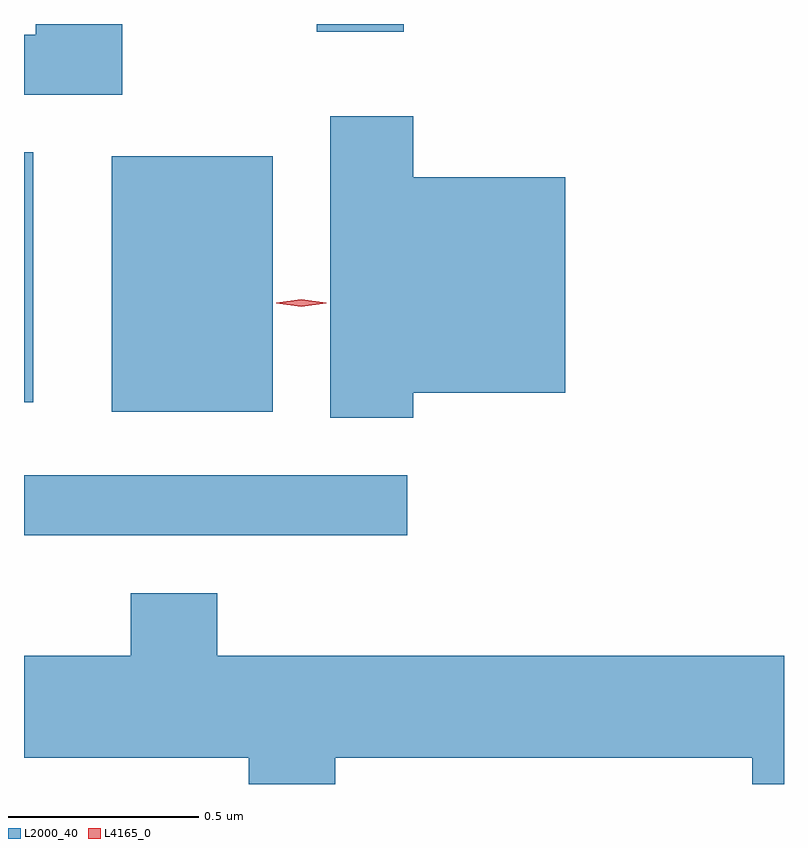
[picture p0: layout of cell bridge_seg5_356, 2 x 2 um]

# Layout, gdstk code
import gdstk
lib = gdstk.Library(unit=1e-6, precision=1e-09)
def R(c, l, rs):  # rectangles x0, y0, x1, y1
    for r in rs: c.add(gdstk.rectangle(r[:2], r[2:], *l))
def P(c, l, *ps):  # polygons
    for p in ps: c.add(gdstk.Polygon(p, *l))
L2000_40 = (2000, 40)
L4165_0 = (4165, 0)

bridge_seg5_356 = lib.new_cell('bridge_seg5_356')
R(bridge_seg5_356, L2000_40, [(662.91,1406.321,663.918,1406.479), (663.141,1406.646,663.564,1407.319), (662.91,1406.671,662.934,1407.329), (663.681,1407.646,663.909,1407.667)])
P(bridge_seg5_356, L2000_40, [(663.169,1407.667),(662.941,1407.667),(662.941,1407.639),(662.91,1407.639),(662.91,1407.481),(663.169,1407.481)],
  [(663.934,1406.696),(664.334,1406.696),(664.334,1407.264),(663.934,1407.264),(663.934,1407.424),(663.716,1407.424),(663.716,1406.631),(663.934,1406.631)],
  [(663.419,1406.169),(663.191,1406.169),(663.191,1406.004),(662.91,1406.004),(662.91,1405.736),(663.501,1405.736),(663.501,1405.667),(663.729,1405.667),(663.729,1405.736),(664.826,1405.736),(664.826,1405.667),(664.91,1405.667),(664.91,1406.004),(663.419,1406.004)])
P(bridge_seg5_356, L4165_0, [(663.64,1406.923),(663.574,1406.932),(663.574,1406.933),(663.574,1406.934),(663.64,1406.943),(663.705,1406.934),(663.706,1406.933),(663.705,1406.932)])

lib.write_gds('bridge_seg5_356.gds')
